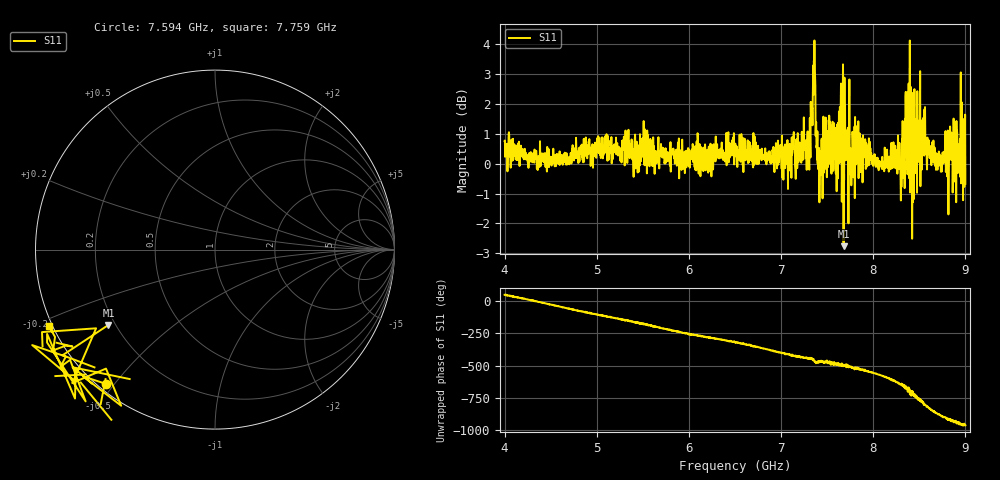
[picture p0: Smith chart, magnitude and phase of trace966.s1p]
! Created with skrf 1.8.0 (http://scikit-rf.org).
# Hz S RI R 50.0
!freq ReS11 ImS11
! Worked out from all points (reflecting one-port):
!   1601 points, 4 GHz to 9 GHz, reference 50 ohm
!   lowest |S11| = -2.8 dB at 7.678 GHz (marker M1), VSWR 6.34, Z = 8.67 - j15.5 ohm
!   phase of S11 starts at 51 deg and turns -1017 deg over the sweep
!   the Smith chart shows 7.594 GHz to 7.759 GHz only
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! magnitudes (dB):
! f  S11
! 4 GHz  0.8
! 4.625 GHz  0.1
! 5.25 GHz  0.4
! 5.875 GHz  0.1
! 6.5 GHz  0.2
! 7.038 GHz  0.0
! 7.125 GHz  0.9
! 7.294 GHz  -0.2
! 7.316 GHz  0.6
! 7.347 GHz  2.7
! 7.369 GHz  2.9
! 7.4 GHz  0.4
! 7.428 GHz  0.2
! 7.509 GHz  -0.1
! 7.591 GHz  1.2
! 7.65 GHz  2.7
! 7.678 GHz  -2.8
! 7.75 GHz  -0.1
! 7.85 GHz  -0.1
! 8.084 GHz  0.0
! 8.316 GHz  0.1
! 8.334 GHz  -0.3
! 8.375 GHz  1.4
! 8.447 GHz  2.5
! 8.522 GHz  1.0
! 8.697 GHz  -0.2
! 8.972 GHz  0.3
! 9 GHz  -0.7
